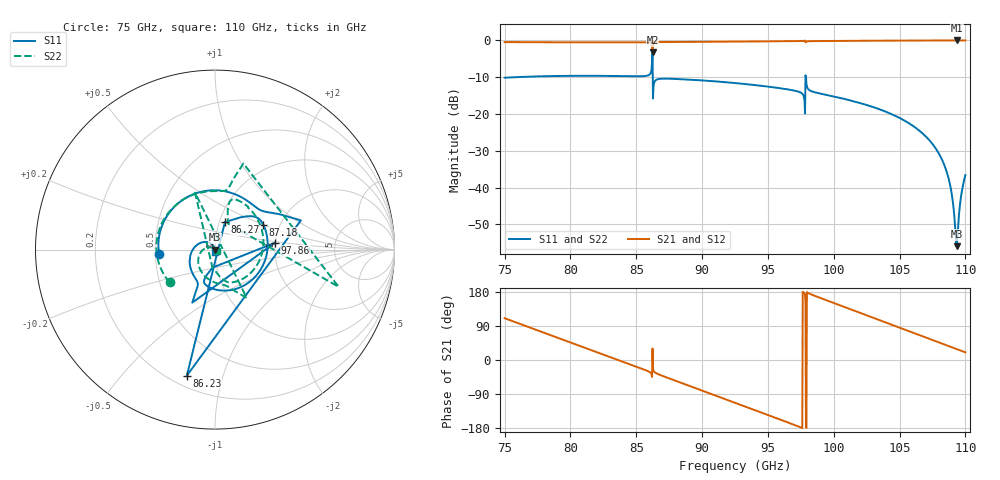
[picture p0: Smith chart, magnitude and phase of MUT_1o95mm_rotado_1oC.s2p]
! TOUCHSTONE file generated by CST MICROWAVE STUDIO
! Date and time: Wed Feb 14 15:06:48 2024
! Project name: material_rotado.cst
! Parameters = {angY=1}
! Header version: 2018
! Port assignment regex: !\s*Touchstone port\s*([0-9]+)\s*=\s*(CST MWS port|CST DS port)\s*([0-9]+|Zmin|Zmax)\s*\(\"(.*)\"\)(\s*mode\s*([0-9]+))?.*
! Touchstone port assignment:
! Touchstone port 1 = CST MWS port 1 ("")
! Touchstone port 2 = CST MWS port 2 ("")
# GHz S MA R 376.7
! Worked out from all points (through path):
!   1001 points, 75 GHz to 110 GHz, reference 376.7 ohm
!   highest |S21| = 0.00 dB at 109.4 GHz (marker M1); lowest = -3.2 dB at 86.23 GHz (marker M2)
!   lowest |S11| = -55.9 dB at 109.3 GHz (marker M3), VSWR 1.00, Z = 376 - j0.179 ohm
!   |S11| at or under -10 dB: start of sweep to 75.7 GHz; 86.25 GHz to 97.85 GHz (11.6 GHz wide, 12.6 % of centre); 97.89 GHz to end of sweep
!   |S22| runs from -55.3 to -2.9 dB; largest |S21 - S12| = 0
!   S11 on the Smith chart (normalised r, x): 75 GHz: 0.53, -0.03; 86.23 GHz: 0.26, -0.77; 86.27 GHz: 1.06, +0.33; 87.18 GHz: 1.64, +0.50; 97.86 GHz: 1.99, +0.17; 110 GHz: 1.00, -0.03
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75  0.3118 -175.3  0.9501 110.2  0.9501 110.2  0.3118 -144.3
77.835  0.326 147.9  0.9454 74.1  0.9454 74.1  0.326 -179.8
80.845  0.3311 109.0  0.9436 35.8  0.9436 35.8  0.3308 142.6
83.645  0.3283 72.4  0.9446 0.1  0.9446 0.1  0.3284 107.8
86.025  0.346 37.9  0.9382 -32.0  0.9382 -32.0  0.346 78.1
86.235  0.7196 -102.6  0.6944 30.3  0.6944 30.3  0.7196 -16.8
86.27  0.1627 70.2  0.9867 -23.0  0.9867 -23.0  0.1627 63.8
86.69  0.2988 34.9  0.9543 -37.7  0.9543 -37.7  0.2989 69.7
87.18  0.3028 27.5  0.9529 -44.4  0.9529 -44.4  0.303 63.7
89.91  0.2872 -8.7  0.958 -79.6  0.958 -79.6  0.2873 29.6
92.5  0.2637 -42.7  0.9646 -112.9  0.9646 -112.9  0.2637 -3.0
95.475  0.2301 -81.7  0.9732 -151.2  0.9732 -151.2  0.2301 -40.8
97.855  0.3362 6.5  0.9418 147.9  0.9418 147.9  0.3362 109.3
98.345  0.203 -119.4  0.9792 172.3  0.9792 172.3  0.203 -76.0
101.565  0.1479 -161.0  0.989 130.1  0.989 130.1  0.148 -118.8
104.19  0.1033 165.1  0.9946 95.9  0.9946 95.9  0.1033 -153.2
107.97  0.02936 117.8  0.9995 46.6  0.9995 46.6  0.02941 155.2
108.775  0.01223 111.5  0.9999 36.1  0.9999 36.1  0.01232 140.1
109.335  0.001601 -171.5  1 28.8  1 28.8  0.00172 51.2
109.37  0.0018 -146.7  1 28.3  1 28.3  0.00188 26.6
109.72  0.008663 -99.3  0.9999 23.8  0.9999 23.8  0.008642 -32.6
110  0.01478 -98.6  0.9999 20.2  0.9999 20.2  0.01478 -41.0
